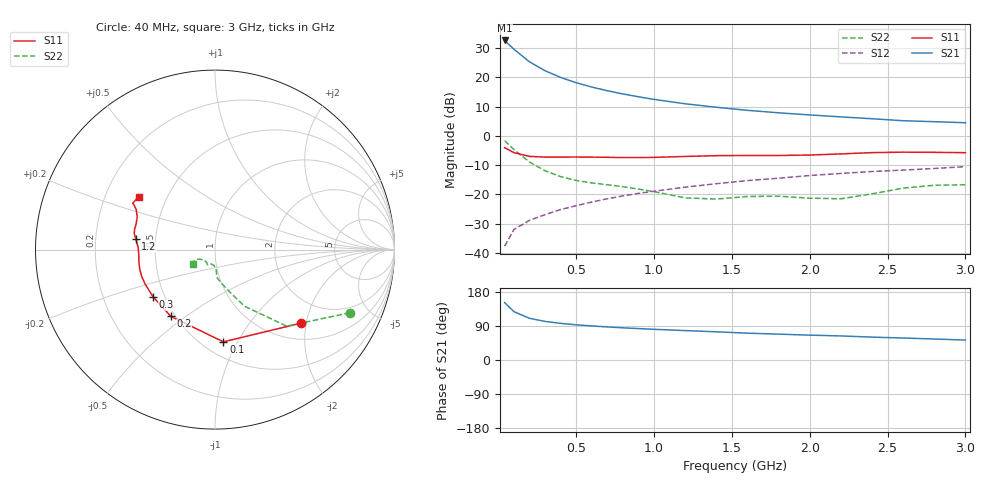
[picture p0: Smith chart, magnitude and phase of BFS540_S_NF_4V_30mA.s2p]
! Filename:  BFS540D.S2P  Version:  4.0
! Philips part #: BFS540  Date: Jun 1994
! Bias condition: Vce=4V, Ic=30mA
#  MHz  S  MA  R  50
! Freq  S11  S21  S12  S22  !GUM [dB]
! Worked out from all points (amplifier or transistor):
!   21 points, 40 MHz to 3 GHz, reference 50 ohm
!   highest |S21| = 32.6 dB at 40 MHz (marker M1)
!   |S21| within 3 dB of that: start of sweep to 99.88 MHz
!   unconditionally stable (mu >= 1): 640.8 MHz to end of sweep
!   at 300 MHz: K = 0.84, MSG = 24.6 dB, |S12| = -26.9 dB
!   at 1 GHz: K = 1.06, MAG = 14.2 dB, |S12| = -18.9 dB
!   at 3 GHz: K = 1.01, MAG = 6.9 dB, |S12| = -10.5 dB
!   lowest NFmin = 1.45 dB at 500 MHz
!   S11 on the Smith chart (normalised r, x): 40 MHz: 1.37, -1.86; 100 MHz: 0.63, -0.88; 200 MHz: 0.47, -0.44; 300 MHz: 0.43, -0.28; 1.2 GHz: 0.39, +0.06; 3 GHz: 0.35, +0.28
40  0.63 -40.6  42.83 151.5  0.013 72.5  0.83 -25.1
100  0.516 -84.8  30.3 127.6  0.025 60.8  0.584 -46.9
200  0.446 -123.5  18.45 110.0  0.036 58.4  0.357 -62.3
300  0.434 -142.4  13 101.8  0.045 61.0  0.253 -70.6
400  0.434 -153.5  9.98 96.6  0.055 63.5  0.201 -77.3
500  0.435 -160.3  8.111 92.9  0.064 65.6  0.172 -82.4
600  0.433 -165.6  6.837 89.9  0.074 67.1  0.157 -85.5
700  0.43 -170.1  5.916 87.3  0.084 68.5  0.146 -86.8
800  0.426 -174.1  5.213 84.9  0.094 69.3  0.135 -86.4
900  0.426 -178.2  4.664 82.9  0.104 69.9  0.123 -86.3
1000  0.429 178.1  4.208 81.0  0.113 70.4  0.111 -87.0
1200  0.445 172.3  3.54 77.6  0.133 71.1  0.087 -94.2
1400  0.459 168.7  3.085 74.4  0.152 71.6  0.083 -107.0
1600  0.462 165.8  2.735 70.8  0.172 70.7  0.092 -115.8
1800  0.462 162.0  2.48 68.2  0.189 70.7  0.093 -118.4
2000  0.47 157.2  2.281 65.6  0.21 70.4  0.086 -122.0
2200  0.492 153.1  2.111 63.5  0.228 70.4  0.084 -135.5
2400  0.517 151.0  1.964 60.4  0.246 69.8  0.102 -149.1
2600  0.527 150.6  1.816 58.0  0.26 68.6  0.128 -152.2
2800  0.523 149.0  1.748 55.4  0.277 68.2  0.143 -148.5
3000  0.516 145.3  1.677 52.6  0.298 67.2  0.146 -147.4
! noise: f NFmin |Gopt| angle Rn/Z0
500  1.45  0.129  150  0.14
900  1.7  0.235  163  0.15
2000  2.4  0.488  -154  0.12
